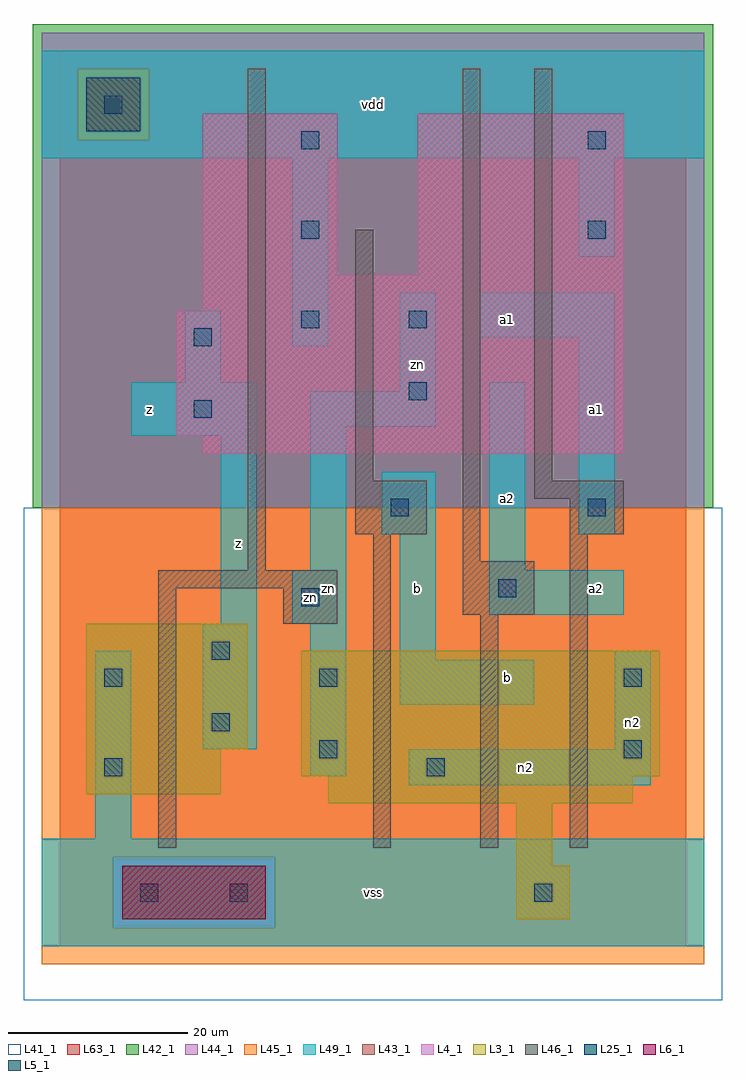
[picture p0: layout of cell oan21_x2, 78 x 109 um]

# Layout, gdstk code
import gdstk
lib = gdstk.Library(unit=1e-6, precision=1e-09)
def R(c, l, rs):  # rectangles x0, y0, x1, y1
    for r in rs: c.add(gdstk.rectangle(r[:2], r[2:], *l))
def A(c, l, x, y, w, h, nx, ny, dx, dy):  # array of equal rectangles
    R(c, l, [(x+i*dx, y+j*dy, x+i*dx+w, y+j*dy+h) for i in range(nx) for j in range(ny)])
L3_1 = (3, 1)
L4_1 = (4, 1)
L5_1 = (5, 1)
L6_1 = (6, 1)
L25_1 = (25, 1)
L41_1 = (41, 1)
L42_1 = (42, 1)
L43_1 = (43, 1)
L44_1 = (44, 1)
L45_1 = (45, 1)
L46_1 = (46, 1)
L49_1 = (49, 1)
L63_1 = (63, 1)

oan21_x2 = lib.new_cell('oan21_x2')
R(oan21_x2, L3_1, [(51,3,57,9), (51,9,55,16), (30,16,64,19), (3,17,18,22), (27,19,67,33), (3,22,21,36)])
R(oan21_x2, L4_1, [(16,55,63,57), (13,57,63,71), (16,71,63,75), (16,75,31,93), (40,75,63,93)])
R(oan21_x2, L5_1, [(3,91,9,97)])
R(oan21_x2, L6_1, [(7,3,23,9)])
A(oan21_x2, L25_1, 27, 69, 2, 2, 1, 3, 0, 10)
R(oan21_x2, L25_1, [(9,5,11,7), (19,5,21,7), (53,5,55,7), (5,19,7,21), (41,19,43,21), (29,21,31,23), (63,21,65,23), (17,24,19,26), (5,29,7,31), (29,29,31,31), (63,29,65,31), (17,32,19,34), (27,38,29,40), (49,39,51,41), (37,48,39,50), (59,48,61,50), (15,59,17,61), (39,61,41,63), (15,67,17,69), (39,69,41,71), (59,79,61,81), (59,89,61,91), (5,93,7,95)])
R(oan21_x2, L41_1, [(-4,-6,74,49), (-3,-3,73,49)])
R(oan21_x2, L42_1, [(-3,49,73,103)])
R(oan21_x2, L43_1, [(7,3,23,9), (51,3,57,9), (51,9,55,16), (30,16,64,19), (3,17,18,22), (27,19,67,33), (3,22,21,36), (16,55,63,57), (13,57,63,71), (16,71,63,75), (16,75,31,93), (40,75,63,93), (3,91,9,97)])
R(oan21_x2, L44_1, [(6,2,24,10), (-2,49,72,90), (-2,90,2,98), (10,90,72,98), (-2,98,72,102)])
R(oan21_x2, L45_1, [(-2,-2,72,2), (-2,2,6,10), (24,2,72,10), (-2,10,72,49), (2,90,10,98)])
R(oan21_x2, L46_1, [(11,11,13,40), (35,11,37,46), (47,11,49,37), (57,11,59,46), (25,36,31,40), (45,37,53,43), (11,40,31,42), (21,42,23,98), (45,43,47,98), (33,46,41,52), (57,46,63,50), (53,50,63,52), (33,52,35,80), (53,52,55,98)])
R(oan21_x2, L49_1, [(-2,0,72,12), (4,12,8,33), (39,18,66,22), (28,19,32,36), (16,22,22,36), (62,22,66,33), (38,27,53,32), (38,32,42,46), (18,36,22,57), (26,36,32,42), (48,37,63,42), (28,42,32,58), (48,42,52,63), (36,46,42,53), (58,46,62,68), (8,57,22,63), (28,58,42,62), (38,62,42,73), (14,63,18,71), (26,67,30,88), (47,68,62,73), (58,77,62,88), (-2,88,72,100)])
R(oan21_x2, L63_1, [(0,0,70,100)])
oan21_x2.add(gdstk.Label('zn', (28,39), layer=49, texttype=1))
oan21_x2.add(gdstk.Label('z', (10,60), layer=49, texttype=1))
oan21_x2.add(gdstk.Label('z', (10,60), layer=49, texttype=1))
oan21_x2.add(gdstk.Label('z', (20,45), layer=49, texttype=1))
oan21_x2.add(gdstk.Label('z', (20,45), layer=49, texttype=1))
oan21_x2.add(gdstk.Label('zn', (30,40), layer=49, texttype=1))
oan21_x2.add(gdstk.Label('vss', (35,6), layer=49, texttype=1))
oan21_x2.add(gdstk.Label('vss', (35,6), layer=49, texttype=1))
oan21_x2.add(gdstk.Label('b', (50,30), layer=49, texttype=1))
oan21_x2.add(gdstk.Label('b', (40,40), layer=49, texttype=1))
oan21_x2.add(gdstk.Label('b', (40,40), layer=49, texttype=1))
oan21_x2.add(gdstk.Label('b', (50,30), layer=49, texttype=1))
oan21_x2.add(gdstk.Label('a2', (50,50), layer=49, texttype=1))
oan21_x2.add(gdstk.Label('a2', (50,50), layer=49, texttype=1))
oan21_x2.add(gdstk.Label('zn', (40,65), layer=49, texttype=1))
oan21_x2.add(gdstk.Label('a1', (50,70), layer=49, texttype=1))
oan21_x2.add(gdstk.Label('a1', (50,70), layer=49, texttype=1))
oan21_x2.add(gdstk.Label('vdd', (35,94), layer=49, texttype=1))
oan21_x2.add(gdstk.Label('vdd', (35,94), layer=49, texttype=1))
oan21_x2.add(gdstk.Label('n2', (52,20), layer=49, texttype=1))
oan21_x2.add(gdstk.Label('n2', (64,25), layer=49, texttype=1))
oan21_x2.add(gdstk.Label('a2', (60,40), layer=49, texttype=1))
oan21_x2.add(gdstk.Label('a2', (60,40), layer=49, texttype=1))
oan21_x2.add(gdstk.Label('a1', (60,60), layer=49, texttype=1))
oan21_x2.add(gdstk.Label('a1', (60,60), layer=49, texttype=1))

lib.write_gds('oan21_x2.gds')
